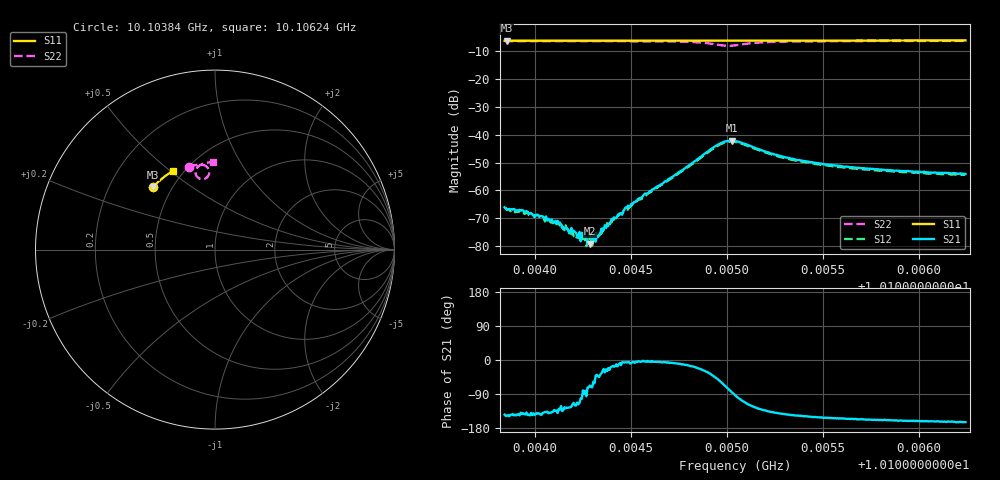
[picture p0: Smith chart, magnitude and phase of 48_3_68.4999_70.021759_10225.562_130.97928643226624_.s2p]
#  HZ  S  RI  R  50.00
! Rohde & Schwarz Vector Network Analyzer
! Rohde-Schwarz,ZNB20-2Port,1311601062101988,3.16
! Created: UTC 3/20/2024, 4:50:44 PM
! freq[Hz]  re:S11  im:S11  re:S21  im:S21  re:S12  im:S12  re:S22  im:S22
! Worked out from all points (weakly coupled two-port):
!   401 points, 10.10384 GHz to 10.10624 GHz, reference 50 ohm
!   highest |S21| = -42.12 dB at 10.10503 GHz (marker M1); lowest = -79.3 dB at 10.10429 GHz (marker M2)
!   lowest |S11| = -6.2 dB at 10.10386 GHz (marker M3), VSWR 2.93, Z = 19.7 + j18.1 ohm
!   |S11| at or under -10 dB: nowhere
!   |S22| runs from -8.0 to -6.2 dB; largest |S21 - S12| = 0.00081
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1.0103844e10  -0.3449 0.3494  -0.000402 -0.00029  -0.000343 -0.00031  -0.1452 0.461
1.0103856e10  -0.3444 0.3496  -0.000375 -0.000246  -0.000354 -0.000274  -0.1443 0.4613
1.0104024e10  -0.3374 0.3572  -0.000269 -0.000218  -0.000239 -0.000228  -0.1329 0.465
1.010412e10  -0.3333 0.3615  -0.000216 -0.000182  -0.000159 -0.000192  -0.1258 0.467
1.0104174e10  -0.331 0.3638  -0.000117 -0.000161  -0.000115 -0.000154  -0.1219 0.4681
1.0104204e10  -0.3295 0.365  -7.45e-05 -0.000173  -7.41e-05 -0.00013  -0.1196 0.4687
1.0104228e10  -0.3287 0.3659  -6.25e-05 -0.000123  -4.8e-05 -0.000145  -0.1178 0.4692
1.0104246e10  -0.3279 0.3669  -3.8e-05 -0.000168  -2.39e-06 -0.000126  -0.1164 0.4695
1.0104258e10  -0.3273 0.3673  9.79e-09 -0.000145  3e-05 -0.000135  -0.1155 0.4696
1.010427e10  -0.3268 0.3678  -1.43e-05 -0.000142  1.35e-05 -9.79e-05  -0.1144 0.4699
1.0104288e10  -0.3258 0.3686  4.16e-05 -0.000101  6.91e-05 -0.00014  -0.113 0.4701
1.0104336e10  -0.3239 0.3705  0.000109 -0.000108  0.00014 -7.32e-05  -0.109 0.471
1.0104366e10  -0.3225 0.372  0.000199 -0.000127  0.000188 -8.2e-05  -0.1066 0.4716
1.0104474e10  -0.3178 0.3764  0.000487 -5.2e-05  0.000444 -3.87e-05  -0.0969 0.473
1.0104648e10  -0.3098 0.3834  0.00119 -0.000103  0.00119 1.56e-05  -0.0776 0.4736
1.0104947e10  -0.2957 0.395  0.00428 -0.0048  0.0045 -0.00421  -0.0341 0.4182
1.0105025e10  -0.2922 0.3976  0.000746 -0.0078  0.00139 -0.00739  -0.0758 0.3926
1.0105043e10  -0.2913 0.3981  -0.000389 -0.0077  0.000314 -0.0074  -0.0872 0.3962
1.0105277e10  -0.2806 0.4073  -0.00326 -0.0026  -0.00286 -0.00278  -0.0942 0.4626
1.0105445e10  -0.2724 0.4134  -0.00278 -0.0016  -0.00249 -0.00177  -0.0758 0.4744
1.0105846e10  -0.2522 0.4272  -0.00213 -0.00083  -0.00199 -0.000963  -0.0417 0.4842
1.0106242e10  -0.2316 0.4398  -0.00189 -0.000543  -0.00178 -0.000688  -0.0131 0.4879
